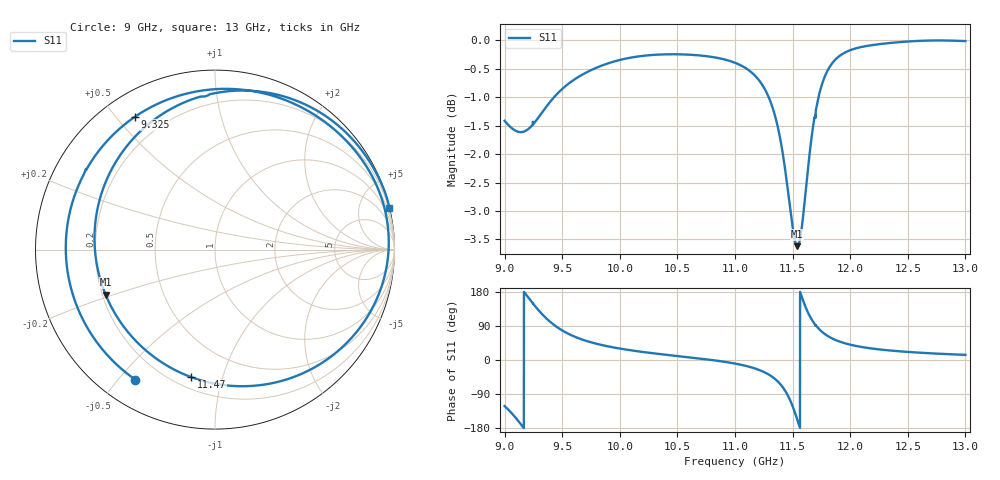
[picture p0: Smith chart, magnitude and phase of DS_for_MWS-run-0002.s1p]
! TOUCHSTONE file generated by CST DESIGN STUDIO
! Date and time: Tue Feb  4 12:43:35 2025
! Project name: C:\Work\MatlabApps\UnitCellOptimizationMatlab\CST\unitcell.cst
! Tree item: Tasks\Sweep1\SPara1\S-Parameters
! Header version: 2024
! Port assignment regex: !\s*Touchstone port\s*([0-9]+)\s*=\s*(CST MWS port|CST DES external port|CST DES block port)\s*(.+)\s* \(\"(.*)\"\)(\s*mode\s*([0-9]+))?.*
! Touchstone port assignment:
! Touchstone port 1 = CST DES external port 1 ("")
# GHz S MA R 50
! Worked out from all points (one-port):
!   4001 points, 9 GHz to 13 GHz, reference 50 ohm
!   lowest |S11| = -3.6 dB at 11.54 GHz (marker M1), VSWR 4.87, Z = 10.7 - j9.43 ohm
!   |S11| at or under -10 dB: nowhere
!   S11 on the Smith chart (normalised r, x): 9 GHz: 0.11, -0.55; 9.325 GHz: 0.10, +0.56; 11.47 GHz: 0.27, -0.80; 13 GHz: 0.05, +8.42
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9  0.8496 -121.6
9.077  0.8349 -145.7
9.171  0.8316 178.7
9.24  0.8421 151.4
9.325  0.8641 121.1
9.403  0.885 98.8
9.5  0.9063 78.0
9.597  0.9226 63.0
9.707  0.9368 50.6
10  0.9611 30.2
10.5  0.9722 10.5
11  0.9557 -9.4
11.181  0.9294 -23.1
11.301  0.8871 -39.9
11.389  0.8229 -62.2
11.434  0.7716 -80.5
11.47  0.7229 -100.5
11.5  0.6846 -121.9
11.541  0.6592 -157.7
11.57  0.6737 175.3
11.599  0.7123 150.2
11.643  0.7872 119.3
11.689  0.8546 96.1
11.752  0.9128 75.2
11.818  0.9463 61.0
12  0.9803 40.4
12.5  0.9977 21.3
13  0.9986 13.6
